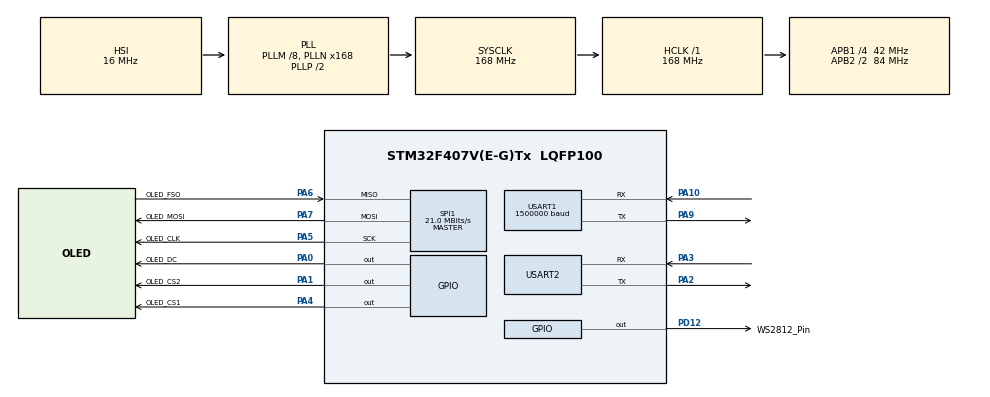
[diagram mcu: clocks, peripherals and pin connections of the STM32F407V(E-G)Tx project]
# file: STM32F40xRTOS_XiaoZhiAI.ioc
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Dma.Request0=USART2_RX
Dma.Request1=SPI1_TX
Dma.Request2=USART1_TX
Dma.SPI1_TX.1.Direction=DMA_MEMORY_TO_PERIPH
Dma.SPI1_TX.1.FIFOMode=DMA_FIFOMODE_DISABLE
Dma.SPI1_TX.1.Instance=DMA2_Stream3
Dma.SPI1_TX.1.MemDataAlignment=DMA_MDATAALIGN_BYTE
Dma.SPI1_TX.1.MemInc=DMA_MINC_ENABLE
Dma.SPI1_TX.1.Mode=DMA_NORMAL
Dma.SPI1_TX.1.PeriphDataAlignment=DMA_PDATAALIGN_BYTE
Dma.SPI1_TX.1.PeriphInc=DMA_PINC_DISABLE
Dma.SPI1_TX.1.Priority=DMA_PRIORITY_LOW
Dma.USART1_TX.2.Direction=DMA_MEMORY_TO_PERIPH
Dma.USART1_TX.2.FIFOMode=DMA_FIFOMODE_DISABLE
Dma.USART1_TX.2.Instance=DMA2_Stream7
Dma.USART1_TX.2.MemDataAlignment=DMA_MDATAALIGN_BYTE
Dma.USART1_TX.2.MemInc=DMA_MINC_ENABLE
Dma.USART1_TX.2.Mode=DMA_NORMAL
Dma.USART1_TX.2.PeriphDataAlignment=DMA_PDATAALIGN_BYTE
Dma.USART1_TX.2.PeriphInc=DMA_PINC_DISABLE
Dma.USART1_TX.2.Priority=DMA_PRIORITY_LOW
Dma.USART2_RX.0.Direction=DMA_PERIPH_TO_MEMORY
Dma.USART2_RX.0.FIFOMode=DMA_FIFOMODE_DISABLE
Dma.USART2_RX.0.Instance=DMA1_Stream5
Dma.USART2_RX.0.MemDataAlignment=DMA_MDATAALIGN_BYTE
Dma.USART2_RX.0.MemInc=DMA_MINC_ENABLE
Dma.USART2_RX.0.Mode=DMA_NORMAL
Dma.USART2_RX.0.PeriphDataAlignment=DMA_PDATAALIGN_BYTE
Dma.USART2_RX.0.PeriphInc=DMA_PINC_DISABLE
Dma.USART2_RX.0.Priority=DMA_PRIORITY_LOW
FREERTOS.Tasks01=defaultTask,24,256,StartDefaultTask,Default,NULL,Dynamic,NULL,NULL
FREERTOS.configENABLE_FPU=1
Mcu.Family=STM32F4
Mcu.Name=STM32F407V(E-G)Tx
Mcu.Package=LQFP100
NVIC.DMA1_Stream5_IRQn=true\:5\:0\:false\:false\:true\:true\:false\:true\:true
NVIC.DMA2_Stream3_IRQn=true\:5\:0\:false\:false\:true\:true\:false\:true\:true
NVIC.DMA2_Stream7_IRQn=true\:5\:0\:false\:false\:true\:true\:false\:true\:true
NVIC.PriorityGroup=NVIC_PRIORITYGROUP_4
NVIC.TIM1_UP_TIM10_IRQn=true\:15\:0\:false\:false\:true\:false\:false\:true\:true
NVIC.TimeBase=TIM1_UP_TIM10_IRQn
NVIC.TimeBaseIP=TIM1
NVIC.USART2_IRQn=true\:5\:0\:false\:false\:true\:true\:true\:true\:true
PA0-WKUP.GPIO_Label=OLED_DC
PA0-WKUP.GPIO_Speed=GPIO_SPEED_FREQ_MEDIUM
PA0-WKUP.PinState=GPIO_PIN_SET
PA0-WKUP.Signal=GPIO_Output
PA1.GPIO_Label=OLED_CS2
PA1.GPIO_Speed=GPIO_SPEED_FREQ_MEDIUM
PA1.PinState=GPIO_PIN_SET
PA1.Signal=GPIO_Output
PA10.Mode=Asynchronous
PA10.Signal=USART1_RX
PA13.Mode=Serial_Wire
PA13.Signal=SYS_JTMS-SWDIO
PA14.Mode=Serial_Wire
PA14.Signal=SYS_JTCK-SWCLK
PA2.Mode=Asynchronous
PA2.Signal=USART2_TX
PA3.Mode=Asynchronous
PA3.Signal=USART2_RX
PA4.GPIO_Label=OLED_CS1
PA4.GPIO_Speed=GPIO_SPEED_FREQ_MEDIUM
PA4.PinState=GPIO_PIN_SET
PA4.Signal=GPIO_Output
PA5.GPIO_Label=OLED_CLK
PA5.Mode=Full_Duplex_Master
PA5.Signal=SPI1_SCK
PA6.GPIO_Label=OLED_FSO
PA6.Mode=Full_Duplex_Master
PA6.Signal=SPI1_MISO
PA7.GPIO_Label=OLED_MOSI
PA7.Mode=Full_Duplex_Master
PA7.Signal=SPI1_MOSI
PA9.Mode=Asynchronous
PA9.Signal=USART1_TX
PD12.GPIO_Label=WS2812_Pin
PD12.GPIO_ModeDefaultOutputPP=GPIO_MODE_OUTPUT_PP
PD12.GPIO_PuPd=GPIO_PULLUP
PD12.GPIO_Speed=GPIO_SPEED_FREQ_HIGH
PD12.PinState=GPIO_PIN_RESET
PD12.Signal=GPIO_Output
PH0-OSC_IN.Mode=HSE-External-Oscillator
PH0-OSC_IN.Signal=RCC_OSC_IN
PH1-OSC_OUT.Mode=HSE-External-Oscillator
PH1-OSC_OUT.Signal=RCC_OSC_OUT
ProjectManager.HeapSize=0x200
ProjectManager.StackSize=0x400
ProjectManager.TargetToolchain=CMake
RCC.48MHZClocksFreq_Value=84000000
RCC.AHBFreq_Value=168000000
RCC.APB1CLKDivider=RCC_HCLK_DIV4
RCC.APB1Freq_Value=42000000
RCC.APB1TimFreq_Value=84000000
RCC.APB2CLKDivider=RCC_HCLK_DIV2
RCC.APB2Freq_Value=84000000
RCC.APB2TimFreq_Value=168000000
RCC.CortexFreq_Value=168000000
RCC.HCLKFreq_Value=168000000
RCC.HSE_VALUE=25000000
RCC.HSI_VALUE=16000000
RCC.LSE_VALUE=32768
RCC.PLLM=8
RCC.PLLN=168
RCC.SYSCLKFreq_VALUE=168000000
RCC.SYSCLKSource=RCC_SYSCLKSOURCE_PLLCLK
RCC.VCOOutputFreq_Value=336000000
SPI1.BaudRatePrescaler=SPI_BAUDRATEPRESCALER_4
SPI1.CLKPhase=SPI_PHASE_1EDGE
SPI1.CalculateBaudRate=21.0 MBits/s
SPI1.Direction=SPI_DIRECTION_2LINES
SPI1.Mode=SPI_MODE_MASTER
SPI1.VirtualType=VM_MASTER
USART1.BaudRate=1500000
USART1.VirtualMode=VM_ASYNC
USART2.VirtualMode=VM_ASYNC
VP_FREERTOS_VS_CMSIS_V2.Mode=CMSIS_V2
VP_SYS_VS_tim1.Mode=TIM1
board=custom

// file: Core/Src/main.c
/* USER CODE BEGIN Header */
/**
 ******************************************************************************
 * @file           : main.c
 * @brief          : Main program body
 ******************************************************************************
 * @attention
 *
 * Copyright (c) 2025 STMicroelectronics.
 * All rights reserved.
 *
 * This software is licensed under terms that can be found in the LICENSE file
 * in the root directory of this software component.
 * If no LICENSE file comes with this software, it is provided AS-IS.
 *
 ******************************************************************************
 */
/* USER CODE END Header */
#include "main.h"
#include "cmsis_os.h"
#include "dma.h"
#include "gpio.h"
#include "log.h"
#include "spi.h"
#include "usart.h"

/* USER CODE BEGIN PD */
#define RX_BUFFER_SIZE 256
/* USER CODE END PD */

/* USER CODE BEGIN PV */
uint8_t rxBuffer[RX_BUFFER_SIZE];
emMCP_t emMCP;
u8g2_t u8g2;
ws2812_strip_t ws2812_strip = {
    .led_count = WS2812_LED_NUM,
    .brightness = 0.5,
};
/* USER CODE END PV */

void SystemClock_Config(void);
void MX_FREERTOS_Init(void);

/* USER CODE BEGIN 0 */
void HAL_UARTEx_RxEventCallback(UART_HandleTypeDef *huart, uint16_t Size) {
  if (huart == &huart2) {
    log_info("%.*s", Size, rxBuffer);
    uartPortRecvData((char *)rxBuffer, Size);
    emMCP_uart_send(rxBuffer, Size);
    HAL_UARTEx_ReceiveToIdle_DMA(&huart2, rxBuffer, RX_BUFFER_SIZE);
    __HAL_DMA_DISABLE_IT(&hdma_usart2_rx, DMA_IT_HT);
  }
}
/**
 * @brief Callback function for MCP events
 *
 * @param event
 * @param type
 * @param param
 */
void emMCP_EventCallback(emMCP_event_t event, mcp_server_tool_type_t type,
                         void *param) {
  char *param_str = (char *)param;
  emMCP_log_debug("emMCP_EventCallback: event:%d,type:%d,param:%s", event, type,
                  param_str);

  switch (event) {
  case emMCP_EVENT_AI_MCP_Text: {
    cJSON *Text_root = cJSON_Parse(param_str);
    cJSON *state = cJSON_GetObjectItemCaseSensitive(Text_root, "state");
    if (state->valueint) {
      memset(long_text, 0, 128);
      cJSON *text = cJSON_GetObjectItemCaseSensitive(Text_root, "text");
      if (text != NULL) {
        strcpy(long_text, text->valuestring);
        // 判断是否在播放音乐
        if (strstr(text->valuestring, "play_music...") != NULL) {
          // 显示音乐图标
          current_emotion = U8G2_EMOTION_MUSIC;
          return;
        }
      }
      // 解析心情
      cJSON *emotion = cJSON_GetObjectItemCaseSensitive(Text_root, "emotion");
      if (emotion != NULL) {
        if (strcmp(emotion->valuestring, "happy") == 0) {
          current_emotion = current_emotion == U8G2_EMOTION_MUSIC
                                ? U8G2_EMOTION_MUSIC
                                : U8G2_EMOTION_HAPPY;
        } else if (strcmp(emotion->valuestring, "sad") == 0) {
          current_emotion = current_emotion == U8G2_EMOTION_MUSIC
                                ? U8G2_EMOTION_MUSIC
                                : U8G2_EMOTION_SAD;
        } else if (strcmp(emotion->valuestring, "angry") == 0) {
          current_emotion = current_emotion == U8G2_EMOTION_MUSIC
                                ? U8G2_EMOTION_MUSIC
                                : U8G2_EMOTION_ANGE;
        } else if (strcmp(emotion->valuestring, "cool") == 0) {
          current_emotion = current_emotion == U8G2_EMOTION_MUSIC
                                ? U8G2_EMOTION_MUSIC
                                : U8G2_EMOTION_COOL;
        } else if (strcmp(emotion->valuestring, "surprised") == 0 ||
                   strcmp(emotion->valuestring, "shocked") == 0) {
          current_emotion = current_emotion == U8G2_EMOTION_MUSIC
                                ? U8G2_EMOTION_MUSIC
                                : U8G2_EMOTION_SURPRISED;
        } else if (strcmp(emotion->valuestring, "winking") == 0 ||
                   strcmp(emotion->valuestring, "confident") == 0 ||
                   strcmp(emotion->valuestring, "silly") == 0) {
          current_emotion = current_emotion == U8G2_EMOTION_MUSIC
                                ? U8G2_EMOTION_MUSIC
                                : U8G2_EMOTION_PLAYFUL;
        } else if (strcmp(emotion->valuestring, "loving") == 0) {
          current_emotion = current_emotion == U8G2_EMOTION_MUSIC
                                ? U8G2_EMOTION_MUSIC
                                : U8G2_EMOTION_PROUD;
        } else {
          current_emotion = current_emotion == U8G2_EMOTION_MUSIC
                                ? U8G2_EMOTION_MUSIC
                                : U8G2_EMOTION_HAPPY;
        }
      }
    } else {
      memset(long_text, 0, 128);
      current_emotion = U8G2_EMOTION_SMILE;
      strcpy(long_text, "聆听中...");
    }
    cJSON_Delete(Text_root);
  } break;
  case emMCP_EVENT_AI_SLEEP: {
    memset(long_text, 0, 128);
    current_emotion = U8G2_EMOTION_NORMAL;
    strcpy(long_text, WELCOME_MEG);
  } break;
  case emMCP_EVENT_AI_WAKE: {
    memset(long_text, 0, 128);
    current_emotion = U8G2_EMOTION_SMILE_2;
    strcpy(long_text, "聆听中...");
  } break;
  case emMCP_EVENT_AI_START:
    memset(long_text, 0, 128);
    current_emotion = U8G2_EMOTION_DIE;
    strcpy(long_text, "正在启动...");
    break;
  case emMCP_EVENT_AI_WIFI_CONNNECT:
    memset(long_text, 0, 128);
    strcpy(long_text, "WiFi连接成功");
    osDelay(1000);
    memset(long_text, 0, 128);
    current_emotion = U8G2_EMOTION_NORMAL;
    strcpy(long_text, WELCOME_MEG);

    break;
  default:
    break;
  }
}

/* USER CODE END 0 */

int main(void) {

  /* MCU Configuration--------------------------------------------------------*/

  /* Reset of all peripherals, Initializes the Flash interface and the Systick.
   */
  HAL_Init();

  /* Configure the system clock */
  SystemClock_Config();

  /* USER CODE BEGIN SysInit */
  SystemInit();
  /* USER CODE END SysInit */

  /* Initialize all configured peripherals */
  MX_GPIO_Init();
  MX_DMA_Init();
  MX_USART1_UART_Init();
  MX_USART2_UART_Init();
  MX_SPI1_Init();
  /* USER CODE BEGIN 2 */
  OLED_Init();
  OLED_ColorTurn(0);
  OLED_DisplayTurn(0);
  OLED_Clear();
  u8g2_user_init(&u8g2);

  HAL_UARTEx_ReceiveToIdle_DMA(&huart2, rxBuffer, RX_BUFFER_SIZE);
  __HAL_DMA_DISABLE_IT(&hdma_usart2_rx, DMA_IT_HT);
  emMCP_Init(&emMCP);
  log_info("Strarting emMCP Registration Tools");
  ws2812_init(&ws2812_strip);
  ws2812_set_all_pixels_color(0x00, 0, 0x00, 0);
  /* USER CODE END 2 */

  /* Init scheduler */
  osKernelInitialize(); /* Call init function for freertos objects (in
                           cmsis_os2.c) */
  MX_FREERTOS_Init();

  /* Start scheduler */
  osKernelStart();

  /* We should never get here as control is now taken by the scheduler */

  /* Infinite loop */
  while (1) {

  }
}

void SystemClock_Config(void) {
  RCC_OscInitTypeDef RCC_OscInitStruct = {0};
  RCC_ClkInitTypeDef RCC_ClkInitStruct = {0};

  /** Configure the main internal regulator output voltage
   */
  __HAL_RCC_PWR_CLK_ENABLE();
  __HAL_PWR_VOLTAGESCALING_CONFIG(PWR_REGULATOR_VOLTAGE_SCALE1);

  /** Initializes the RCC Oscillators according to the specified parameters
   * in the RCC_OscInitTypeDef structure.
   */
  RCC_OscInitStruct.OscillatorType = RCC_OSCILLATORTYPE_HSI;
  RCC_OscInitStruct.HSIState = RCC_HSI_ON;
  RCC_OscInitStruct.HSICalibrationValue = RCC_HSICALIBRATION_DEFAULT;
  RCC_OscInitStruct.PLL.PLLState = RCC_PLL_ON;
  RCC_OscInitStruct.PLL.PLLSource = RCC_PLLSOURCE_HSI;
  RCC_OscInitStruct.PLL.PLLM = 8;
  RCC_OscInitStruct.PLL.PLLN = 168;
  RCC_OscInitStruct.PLL.PLLP = RCC_PLLP_DIV2;
  RCC_OscInitStruct.PLL.PLLQ = 4;
  if (HAL_RCC_OscConfig(&RCC_OscInitStruct) != HAL_OK) {
    Error_Handler();
  }

  /** Initializes the CPU, AHB and APB buses clocks
   */
  RCC_ClkInitStruct.ClockType = RCC_CLOCKTYPE_HCLK | RCC_CLOCKTYPE_SYSCLK |
                                RCC_CLOCKTYPE_PCLK1 | RCC_CLOCKTYPE_PCLK2;
  RCC_ClkInitStruct.SYSCLKSource = RCC_SYSCLKSOURCE_PLLCLK;
  RCC_ClkInitStruct.AHBCLKDivider = RCC_SYSCLK_DIV1;
  RCC_ClkInitStruct.APB1CLKDivider = RCC_HCLK_DIV4;
  RCC_ClkInitStruct.APB2CLKDivider = RCC_HCLK_DIV2;

  if (HAL_RCC_ClockConfig(&RCC_ClkInitStruct, FLASH_LATENCY_5) != HAL_OK) {
    Error_Handler();
  }
}

void HAL_TIM_PeriodElapsedCallback(TIM_HandleTypeDef *htim) {
  if (htim->Instance == TIM1) {
    HAL_IncTick();
  }
}

void Error_Handler(void) {
  __disable_irq();
  while (1) {
  }
}
#ifdef USE_FULL_ASSERT
/**
 * @brief  Reports the name of the source file and the source line number
 *         where the assert_param error has occurred.
 * @param  file: pointer to the source file name
 * @param  line: assert_param error line source number
 * @retval None
 */
void assert_failed(uint8_t *file, uint32_t line) {
  /* USER CODE BEGIN 6 */
  /* User can add his own implementation to report the file name and line
     number, ex: printf("Wrong parameters value: file %s on line %d\r\n", file,
     line) */
  /* USER CODE END 6 */
}
#endif /* USE_FULL_ASSERT */

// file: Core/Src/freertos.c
/* USER CODE BEGIN Header */
/**
 ******************************************************************************
 * File Name          : freertos.c
 * Description        : Code for freertos applications
 ******************************************************************************
 * @attention
 *
 * Copyright (c) 2025 STMicroelectronics.
 * All rights reserved.
 *
 * This software is licensed under terms that can be found in the LICENSE file
 * in the root directory of this software component.
 * If no LICENSE file comes with this software, it is provided AS-IS.
 *
 ******************************************************************************
 */
/* USER CODE END Header */

#include "FreeRTOS.h"
#include "cJSON.h"
#include "cmsis_os.h"
#include "main.h"
#include "task.h"
#include "ws2812.h"

/* Definitions for defaultTask */
osThreadId_t defaultTaskHandle;
const osThreadAttr_t defaultTask_attributes = {
    .name = "defaultTask",
    .stack_size = 256 * 4,
    .priority = (osPriority_t)osPriorityNormal,
};

/* USER CODE BEGIN FunctionPrototypes */
Cozmo cozmo;
char long_text[128] = "坐等你使用\"你好小安\"唤醒我!";

osThreadId_t u8g2Demo_TaskHandle;

const osThreadAttr_t u8g2Demo_Task_attributes = {
    .name = "u8g2Demo",
    .stack_size = 256 * 4,
    .priority = (osPriority_t)osPriorityLow,
};

emMCP_tool_t ws2812_switch_tool;
emMCP_tool_t ws2812_color_tool;
emMCP_tool_t ws2812_brightness_tool;
extern ws2812_strip_t ws2812_strip;
static bool enbaled = false;
void U8g2DemoTask(void *argument);

/* USER CODE END FunctionPrototypes */

void StartDefaultTask(void *argument);

void MX_FREERTOS_Init(void); /* (MISRA C 2004 rule 8.1) */

void MX_FREERTOS_Init(void) {

  /* Create the thread(s) */
  /* creation of defaultTask */
  defaultTaskHandle =
      osThreadNew(StartDefaultTask, NULL, &defaultTask_attributes);

  /* USER CODE BEGIN RTOS_THREADS */
  /* add threads, ... */
  u8g2Demo_TaskHandle =
      osThreadNew(U8g2DemoTask, NULL, &u8g2Demo_Task_attributes);
  /* USER CODE END RTOS_THREADS */

}

/* USER CODE BEGIN Header_StartDefaultTask */
/**
 * @brief  Function implementing the defaultTask thread.
 *
 * @param arg
 */
static void ws2812_tool_set_request_handler(void *arg) {
  cJSON *root = (cJSON *)arg;
  cJSON *ws2812_enabled_item = cJSON_GetObjectItemCaseSensitive(root, "ws2812_enabled");
  if (ws2812_enabled_item != NULL) {
    ws2812_set_all_pixels_color(
        ws2812_strip.dev->color.r, ws2812_strip.dev->color.g,
        ws2812_strip.dev->color.b,
        ws2812_enabled_item->valueint ? ws2812_strip.brightness : 0.0f);
    enbaled = ws2812_enabled_item->valueint;
  }
  emMCP_ResponseValue(emMCP_CTRL_OK);
}
/**
 * @brief Function implementing the defaultTask thread.
 *
 * @param arg
 */
static void ws2812_tool_check_request_handler(void *arg) {
  char *response_str = pvPortMalloc(32);
  memset(response_str, 0, 32);
  sprintf(response_str, "{\"enabled\":%s}", enbaled ? "true" : "false");
  emMCP_ResponseValue(response_str);
}

static void ws2812_tool_set_color_request_handler(void *arg) {
  cJSON *root = (cJSON *)arg;
  cJSON *red_item = cJSON_GetObjectItemCaseSensitive(root, "red");
  cJSON *green_item = cJSON_GetObjectItemCaseSensitive(root, "green");
  cJSON *blue_item = cJSON_GetObjectItemCaseSensitive(root, "blue");

  if (red_item != NULL && green_item != NULL && blue_item != NULL) {
    ws2812_strip.dev->color.r = red_item->valueint;
    ws2812_strip.dev->color.g = green_item->valueint;
    ws2812_strip.dev->color.b = blue_item->valueint;
  }

  cJSON *led_id = cJSON_GetObjectItemCaseSensitive(root, "led_id");
  if (led_id != NULL) {
    if (led_id->valueint == -1) {
      ws2812_set_all_pixels_color(
          ws2812_strip.dev->color.r, ws2812_strip.dev->color.g,
          ws2812_strip.dev->color.b, enbaled ? ws2812_strip.brightness : 0.0f);
    } else {
      ws2812_set_pixel_color(led_id->valueint, ws2812_strip.dev->color.r,
                             ws2812_strip.dev->color.g,
                             ws2812_strip.dev->color.b);
      ws2812_show_leds();
    }
  } else {
    enbaled = true;
    ws2812_set_all_pixels_color(
        ws2812_strip.dev->color.r, ws2812_strip.dev->color.g,
        ws2812_strip.dev->color.b, enbaled ? ws2812_strip.brightness : 0.0f);
    ws2812_show_leds();
  }
  emMCP_ResponseValue(emMCP_CTRL_OK);
}

static void ws2812_tool_check_color_request_handler(void *arg) {

  emMCP_ResponseValue(emMCP_CTRL_OK);
}

static void ws2812_tool_set_brightness_request_handler(void *arg) {
  cJSON *root = (cJSON *)arg;
  cJSON *brightness_item = cJSON_GetObjectItemCaseSensitive(root, "set_brightness");
  if (brightness_item != NULL) {
    enbaled = true;
    float brightness = brightness_item->valuedouble / 100.0f;
    if (brightness < 0.0f)
      brightness = 0.0f;
    if (brightness > 1.0f)
      brightness = 1.0f;
    ws2812_strip.brightness = brightness;
    ws2812_set_all_pixels_color(
        ws2812_strip.dev->color.r, ws2812_strip.dev->color.g,
        ws2812_strip.dev->color.b, enbaled ? ws2812_strip.brightness : 0.0f);
  } else {
    return;
  }
  emMCP_ResponseValue(emMCP_CTRL_OK);
}

static void ws2812_tool_check_brightness_request_handler(void *arg) {
  char *response_str = pvPortMalloc(32);
  memset(response_str, 0, 32);
  sprintf(response_str, "%d", (int)(ws2812_strip.brightness * 100));
  emMCP_ResponseValue(response_str);
}
/**
 * @brief  Function implementing the defaultTask thread.
 * @param  argument: Not used
 * @retval None
 */
/* USER CODE END Header_StartDefaultTask */
void StartDefaultTask(void *argument) {
  /* USER CODE BEGIN StartDefaultTask */
  /* Infinite loop */
  ws2812_switch_tool.name = "ws2812.switch";
  ws2812_switch_tool.description = "灯条的开关控制";
  ws2812_switch_tool.inputSchema.properties[0].name = "ws2812_enabled";
  ws2812_switch_tool.inputSchema.properties[0].description =
      "打开为true,关闭为false,查询为null";
  ws2812_switch_tool.inputSchema.properties[0].type =
      MCP_SERVER_TOOL_TYPE_BOOLEAN;
  ws2812_switch_tool.setRequestHandler = ws2812_tool_set_request_handler;
  ws2812_switch_tool.checkRequestHandler = ws2812_tool_check_request_handler;

  ws2812_color_tool.name = "ws2812.color";
  ws2812_color_tool.description = "灯条的颜色控制";
  ws2812_color_tool.inputSchema.properties[0].name = "red";
  ws2812_color_tool.inputSchema.properties[0].description = "红色值0-255";
  ws2812_color_tool.inputSchema.properties[0].type =
      MCP_SERVER_TOOL_TYPE_NUMBER;
  ws2812_color_tool.inputSchema.properties[1].name = "green";
  ws2812_color_tool.inputSchema.properties[1].description = "绿色值0-255";
  ws2812_color_tool.inputSchema.properties[1].type =
      MCP_SERVER_TOOL_TYPE_NUMBER;
  ws2812_color_tool.inputSchema.properties[2].name = "blue";
  ws2812_color_tool.inputSchema.properties[2].description = "蓝色值0-255";
  ws2812_color_tool.inputSchema.properties[2].type =
      MCP_SERVER_TOOL_TYPE_NUMBER;
  ws2812_color_tool.inputSchema.properties[3].name = "led_id";
  ws2812_color_tool.inputSchema.properties[3].description =
      "灯珠索引0~3,不传表示全部";
  ws2812_color_tool.inputSchema.properties[3].type =
      MCP_SERVER_TOOL_TYPE_NUMBER;

  ws2812_color_tool.setRequestHandler = ws2812_tool_set_color_request_handler;
  ws2812_color_tool.checkRequestHandler =
      ws2812_tool_check_color_request_handler;

  ws2812_brightness_tool.name = "ws2812.brightness";
  ws2812_brightness_tool.description = "灯条的亮度控制";
  ws2812_brightness_tool.inputSchema.properties[0].name = "set_brightness";
  ws2812_brightness_tool.inputSchema.properties[0].description = "亮度值0-100";
  ws2812_brightness_tool.inputSchema.properties[0].type =
      MCP_SERVER_TOOL_TYPE_NUMBER;
  ws2812_brightness_tool.inputSchema.properties[1].name = "get_brightness";
  ws2812_brightness_tool.inputSchema.properties[1].description = "查询亮度";
  ws2812_brightness_tool.inputSchema.properties[1].type =
      MCP_SERVER_TOOL_TYPE_NULL;
  ws2812_brightness_tool.setRequestHandler =
      ws2812_tool_set_brightness_request_handler;
  ws2812_brightness_tool.checkRequestHandler =
      ws2812_tool_check_brightness_request_handler;
  emMCP_AddToolToToolList(&ws2812_switch_tool);
  emMCP_AddToolToToolList(&ws2812_color_tool);
  emMCP_AddToolToToolList(&ws2812_brightness_tool);
  emMCP_RegistrationTools();

  for (;;) {
    emMCP_TickHandle(10);
    osDelay(10);
  }
  /* USER CODE END StartDefaultTask */
}

/* USER CODE BEGIN Application */

void U8g2DemoTask(void *argument) {
  /* USER CODE BEGIN StartDefaultTask */
  /* Infinite loop */
  int16_t scroll_offset = 0;       // 初始偏移量（屏幕右侧外）
  const uint8_t scroll_speed = 1;  // 滚动速度（像素/帧）
  const uint16_t frame_delay = 10; // 帧间隔（毫秒）

  uint16_t screen_width = u8g2_GetDisplayWidth(&u8g2);

  // 开机图标，显示一个小机器人，encoding=0x32，其他值参考：https://github.com/olikraus/u8g2/wiki/fntgrpstreamline
  u8g2_SetFont(&u8g2, u8g2_font_streamline_technology_t);
  u8g2_DrawGlyphX2(&u8g2, 40, 54, 0x32);
  u8g2_SendBuffer(&u8g2);
  HAL_Delay(1000);
  scroll_offset = screen_width;
  for (;;) {
    u8g2_ClearBuffer(&u8g2); // 清空缓冲区

    // 1. 重绘静态文本（必须在循环内重新绘制，否则会被清除）
    u8g2_SetFont(&u8g2, current_emotion == U8G2_EMOTION_MUSIC
                            ? u8g2_font_streamline_music_audio_t
                            : u8g2_font_emoticons21_tr);

    u8g2_DrawGlyphX2(&u8g2, 42, 44,
                     current_emotion == U8G2_EMOTION_MUSIC
                         ? (U8G2_EMOTION_MUSIC & 0xFF)
                         : current_emotion);

    // 2. 绘制滚动文本
    u8g2_SetFont(&u8g2, u8g2_font_wqy14_t_gb2312);
    scroll_text(&u8g2, long_text, 62, scroll_offset);
    scroll_offset += scroll_speed;
    u8g2_SendBuffer(&u8g2);
    osDelay(frame_delay);
  }
  /* USER CODE END StartDefaultTask */
}
/* USER CODE END Application */
